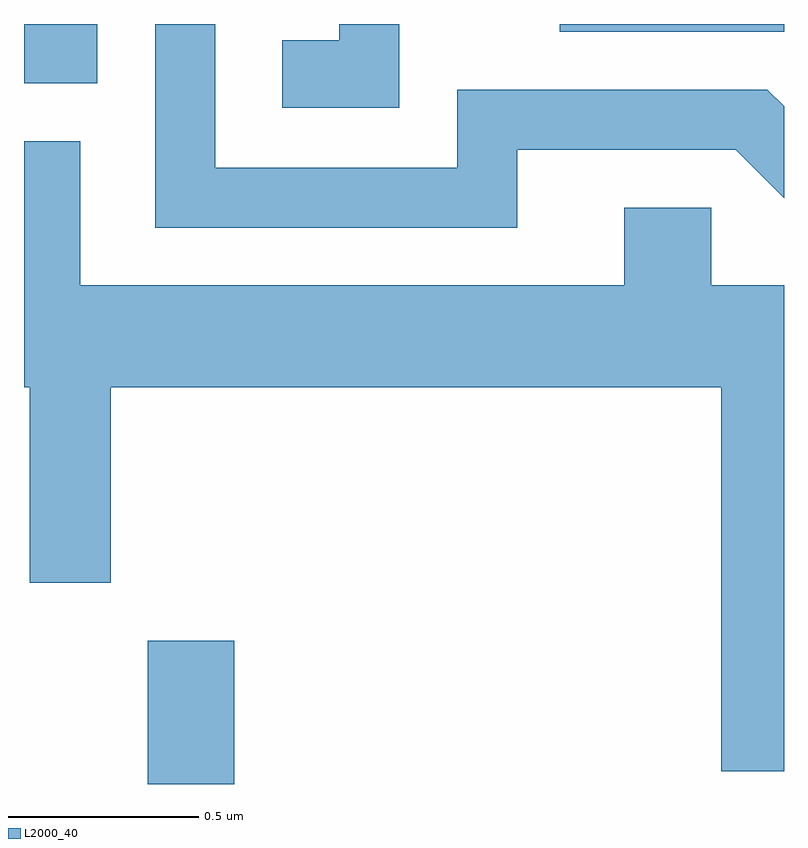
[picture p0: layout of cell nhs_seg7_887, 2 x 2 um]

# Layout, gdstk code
import gdstk
lib = gdstk.Library(unit=1e-6, precision=1e-09)
def R(c, l, rs):  # rectangles x0, y0, x1, y1
    for r in rs: c.add(gdstk.rectangle(r[:2], r[2:], *l))
def P(c, l, *ps):  # polygons
    for p in ps: c.add(gdstk.Polygon(p, *l))
L2000_40 = (2000, 40)

nhs_seg7_887 = lib.new_cell('nhs_seg7_887')
R(nhs_seg7_887, L2000_40, [(191.936,1733.252,192.164,1733.629), (191.611,1735.096,191.804,1735.252), (193.021,1735.231,193.611,1735.252)])
P(nhs_seg7_887, L2000_40, [(192.599,1735.252),(192.441,1735.252),(192.441,1735.209),(192.291,1735.209),(192.291,1735.031),(192.599,1735.031)],
  [(192.909,1734.921),(193.484,1734.921),(193.611,1734.794),(193.611,1735.035),(193.567,1735.079),(192.751,1735.079),(192.751,1734.874),(192.114,1734.874),(192.114,1735.252),(191.956,1735.252),(191.956,1734.716),(192.909,1734.716)],
  [(193.611,1734.564),(193.419,1734.564),(193.419,1734.769),(193.191,1734.769),(193.191,1734.564),(191.759,1734.564),(191.759,1734.944),(191.611,1734.944),(191.611,1734.296),(191.626,1734.296),(191.626,1733.781),(191.839,1733.781),(191.839,1734.296),(193.446,1734.296),(193.446,1733.286),(193.611,1733.286)])

lib.write_gds('nhs_seg7_887.gds')
